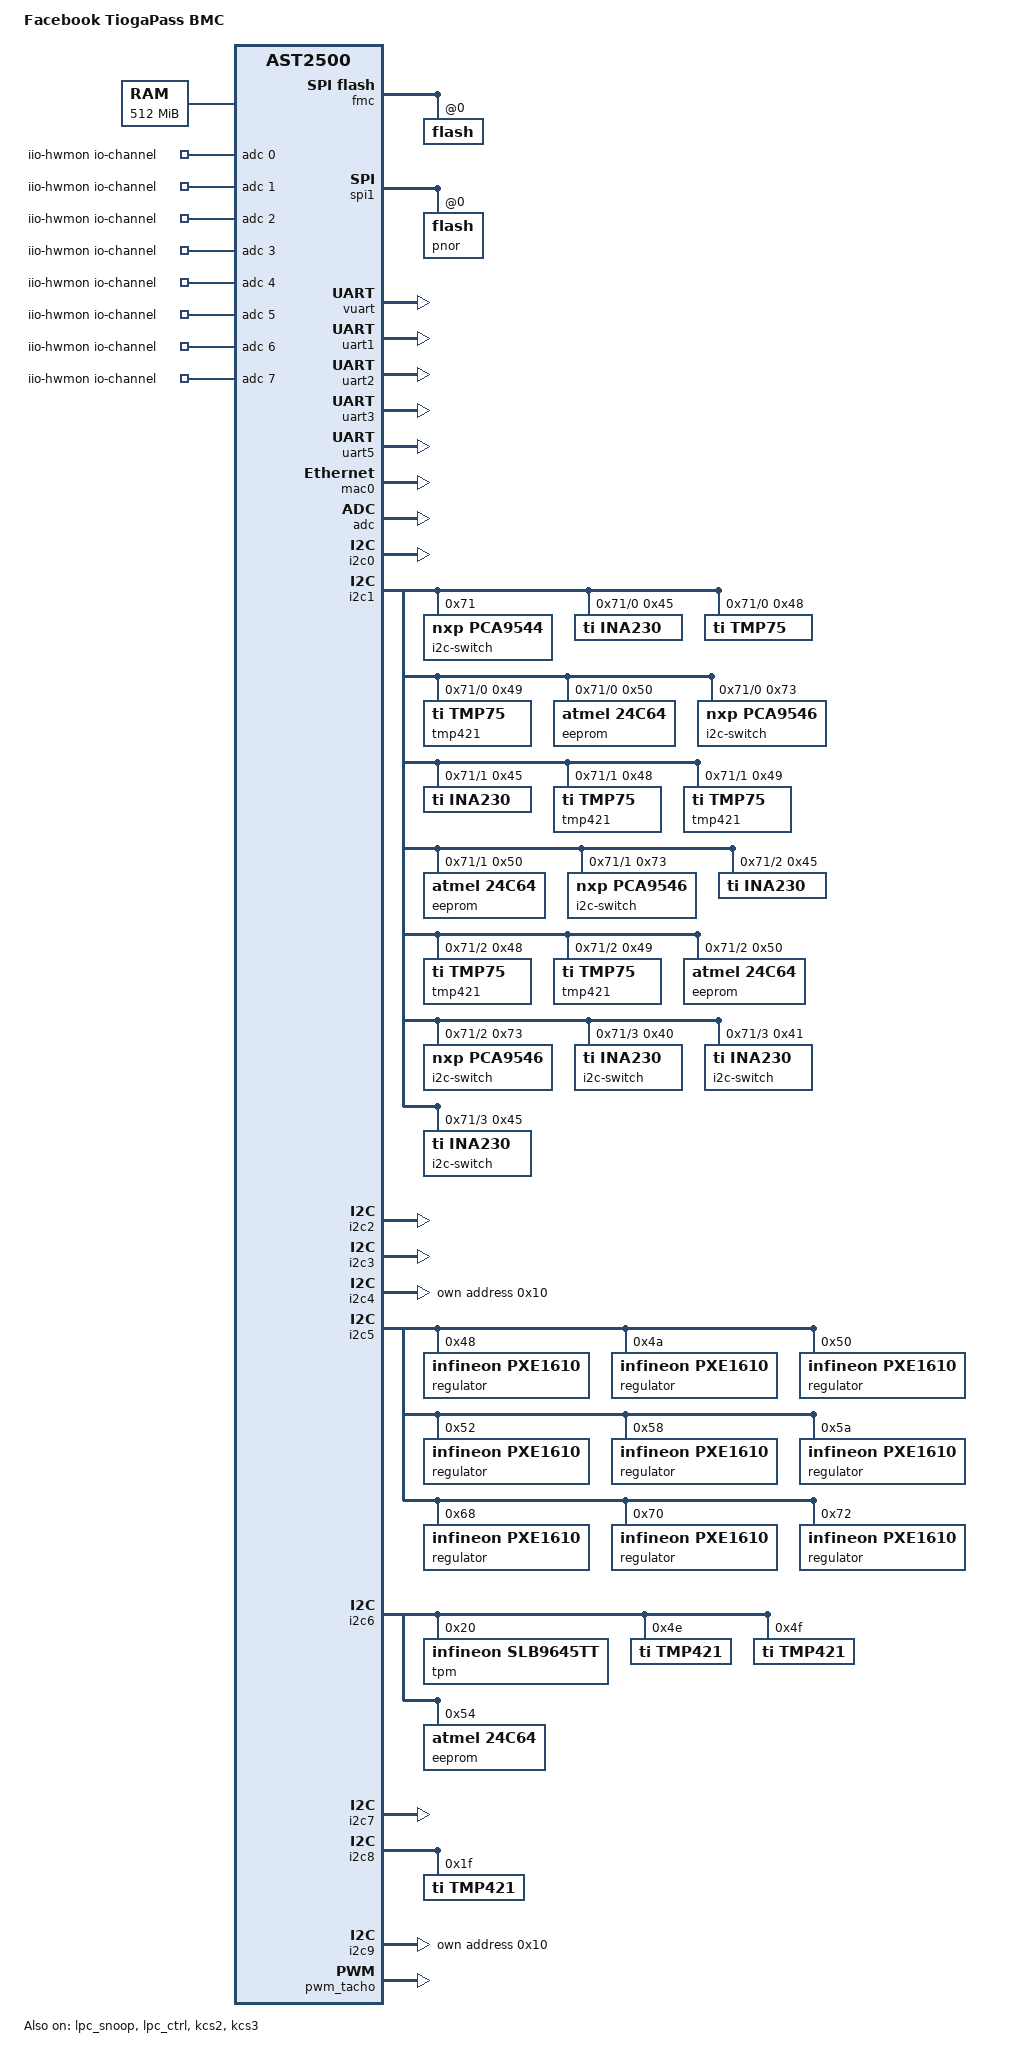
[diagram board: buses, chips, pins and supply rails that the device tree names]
// SPDX-License-Identifier: GPL-2.0+
// Copyright (c) 2018 Facebook Inc.
// Author: Vijay Khemka <vijaykhemka@fb.com>
/dts-v1/;

#include "aspeed-g5.dtsi"
#include <dt-bindings/gpio/aspeed-gpio.h>
#include <dt-bindings/i2c/i2c.h>

/ {
	model = "Facebook TiogaPass BMC";
	compatible = "facebook,tiogapass-bmc", "aspeed,ast2500";
	aliases {
		serial0 = &uart1;
		serial4 = &uart5;

		/*
		 * Hardcode the bus number of i2c switches' channels to
		 * avoid breaking the legacy applications.
		 */
		i2c16 = &imux16;
		i2c17 = &imux17;
		i2c18 = &imux18;
		i2c19 = &imux19;
		i2c20 = &imux20;
		i2c21 = &imux21;
		i2c22 = &imux22;
		i2c23 = &imux23;
		i2c24 = &imux24;
		i2c25 = &imux25;
		i2c26 = &imux26;
		i2c27 = &imux27;
		i2c28 = &imux28;
		i2c29 = &imux29;
		i2c30 = &imux30;
		i2c31 = &imux31;
	};
	chosen {
		stdout-path = &uart5;
		bootargs = "console=ttyS4,115200 earlyprintk";
	};

	memory@80000000 {
		reg = <0x80000000 0x20000000>;
	};

	iio-hwmon {
		compatible = "iio-hwmon";
		io-channels = <&adc 0>, <&adc 1>, <&adc 2>, <&adc 3>,
			      <&adc 4>, <&adc 5>, <&adc 6>, <&adc 7>;
	};

};

&fmc {
	status = "okay";
	flash@0 {
		status = "okay";
		m25p,fast-read;
#include "openbmc-flash-layout.dtsi"
	};
};

&spi1 {
	status = "okay";
	pinctrl-names = "default";
	pinctrl-0 = <&pinctrl_spi1_default>;
	flash@0 {
		status = "okay";
		m25p,fast-read;
		label = "pnor";
	};
};

&lpc_snoop {
	status = "okay";
	snoop-ports = <0x80>;
};

&lpc_ctrl {
	// Enable lpc clock
	status = "okay";
};

&vuart {
	// VUART Host Console
	status = "okay";
};

&uart1 {
	// Host Console
	status = "okay";
	pinctrl-names = "default";
	pinctrl-0 = <&pinctrl_txd1_default
		     &pinctrl_rxd1_default>;
};

&uart2 {
	// SoL Host Console
	status = "okay";
};

&uart3 {
	// SoL BMC Console
	status = "okay";
};

&uart5 {
	// BMC Console
	status = "okay";
};

&kcs2 {
	// BMC KCS channel 2
	status = "okay";
	aspeed,lpc-io-reg = <0xca8>;
};

&kcs3 {
	// BMC KCS channel 3
	status = "okay";
	aspeed,lpc-io-reg = <0xca2>;
};

&gpio {
	status = "okay";
	gpio-line-names =
	/*A0-A7*/	"BMC_CPLD_FPGA_SEL","","","","","","","",
	/*B0-B7*/	"","BMC_DEBUG_EN","","","","BMC_PPIN","PS_PWROK",
			"IRQ_PVDDQ_GHJ_VRHOT_LVT3",
	/*C0-C7*/	"","","","","","","","",
	/*D0-D7*/	"BIOS_MRC_DEBUG_MSG_DIS","BOARD_REV_ID0","",
			"BOARD_REV_ID1","IRQ_DIMM_SAVE_LVT3","BOARD_REV_ID2",
			"CPU_ERR0_LVT3_BMC","CPU_ERR1_LVT3_BMC",
	/*E0-E7*/	"RESET_BUTTON","RESET_OUT","POWER_BUTTON",
			"POWER_OUT","NMI_BUTTON","","CPU0_PROCHOT_LVT3_ BMC",
			"CPU1_PROCHOT_LVT3_ BMC",
	/*F0-F7*/	"IRQ_PVDDQ_ABC_VRHOT_LVT3","",
			"IRQ_PVCCIN_CPU0_VRHOT_LVC3",
			"IRQ_PVCCIN_CPU1_VRHOT_LVC3",
			"IRQ_PVDDQ_KLM_VRHOT_LVT3","","P3VBAT_BRIDGE_EN","",
	/*G0-G7*/	"CPU_ERR2_LVT3","CPU_CATERR_LVT3","PCH_BMC_THERMTRIP",
			"CPU0_SKTOCC_LVT3","","","","BIOS_SMI_ACTIVE",
	/*H0-H7*/	"LED_POST_CODE_0","LED_POST_CODE_1","LED_POST_CODE_2",
			"LED_POST_CODE_3","LED_POST_CODE_4","LED_POST_CODE_5",
			"LED_POST_CODE_6","LED_POST_CODE_7",
	/*I0-I7*/	"CPU0_FIVR_FAULT_LVT3","CPU1_FIVR_FAULT_LVT3",
			"FORCE_ADR","UV_ADR_TRIGGER_EN","","","","",
	/*J0-J7*/	"","","","","","","","",
	/*K0-K7*/	"","","","","","","","",
	/*L0-L7*/	"IRQ_UV_DETECT","IRQ_OC_DETECT","HSC_TIMER_EXP","",
			"MEM_THERM_EVENT_PCH","PMBUS_ALERT_BUF_EN","","",
	/*M0-M7*/	"CPU0_RC_ERROR","CPU1_RC_ERROR","","OC_DETECT_EN",
			"CPU0_THERMTRIP_LATCH_LVT3",
			"CPU1_THERMTRIP_LATCH_LVT3","","",
	/*N0-N7*/	"","","","CPU_MSMI_LVT3","","BIOS_SPI_BMC_CTRL","","",
	/*O0-O7*/	"","","","","","","","",
	/*P0-P7*/	"BOARD_SKU_ID0","BOARD_SKU_ID1","BOARD_SKU_ID2",
			"BOARD_SKU_ID3","BOARD_SKU_ID4","BMC_PREQ",
			"BMC_PWR_DEBUG","RST_RSMRST",
	/*Q0-Q7*/	"","","","","UARTSW_LSB","UARTSW_MSB",
			"POST_CARD_PRES_BMC","PE_BMC_WAKE",
	/*R0-R7*/	"","","BMC_TCK_MUX_SEL","BMC_PRDY",
			"BMC_XDP_PRSNT_IN","RST_BMC_PLTRST_BUF","SLT_CFG0",
			"SLT_CFG1",
	/*S0-S7*/	"THROTTLE","BMC_READY","","HSC_SMBUS_SWITCH_EN","",
			"","","",
	/*T0-T7*/	"","","","","","","","",
	/*U0-U7*/	"","","","","","BMC_FAULT","","",
	/*V0-V7*/	"","","","FAST_PROCHOT_EN","","","","",
	/*W0-W7*/	"","","","","","","","",
	/*X0-X7*/	"","","","GLOBAL_RST_WARN",
			"CPU0_MEMABC_MEMHOT_LVT3_BMC",
			"CPU0_MEMDEF_MEMHOT_LVT3_BMC",
			"CPU1_MEMGHJ_MEMHOT_LVT3_BMC",
			"CPU1_MEMKLM_MEMHOT_LVT3_BMC",
	/*Y0-Y7*/	"SIO_S3","SIO_S5","BMC_JTAG_SEL","SIO_ONCONTROL","",
			"","","",
	/*Z0-Z7*/	"","SIO_POWER_GOOD","IRQ_PVDDQ_DEF_VRHOT_LVT3","",
			"","","","",
	/*AA0-AA7*/	"CPU1_SKTOCC_LVT3","IRQ_SML1_PMBUS_ALERT",
			"SERVER_POWER_LED","","PECI_MUX_SELECT","UV_HIGH_SET",
			"","POST_COMPLETE",
	/*AB0-AB7*/	"IRQ_HSC_FAULT","OCP_MEZZA_PRES","","","","","","",
	/*AC0-AC7*/	"","","","","","","","";
};

&mac0 {
	status = "okay";

	pinctrl-names = "default";
	pinctrl-0 = <&pinctrl_rmii1_default>;
	clocks = <&syscon ASPEED_CLK_GATE_MAC1CLK>,
		 <&syscon ASPEED_CLK_MAC1RCLK>;
	clock-names = "MACCLK", "RCLK";
	use-ncsi;
};

&adc {
	status = "okay";
};

&i2c0 {
	status = "okay";
	//Airmax Conn B, CPU0 PIROM, CPU1 PIROM
};

&i2c1 {
	status = "okay";
	//X24 Riser
	i2c-switch@71 {
		compatible = "nxp,pca9544";
		#address-cells = <1>;
		#size-cells = <0>;
		reg = <0x71>;

		imux16: i2c@0 {
			#address-cells = <1>;
			#size-cells = <0>;
			reg = <0>;

			ina230@45 {
				compatible = "ti,ina230";
				reg = <0x45>;
			};

			tmp75@48 {
				compatible = "ti,tmp75";
				reg = <0x48>;
			};

			tmp421@49 {
				compatible = "ti,tmp75";
				reg = <0x49>;
			};

			eeprom@50 {
				compatible = "atmel,24c64";
				reg = <0x50>;
				pagesize = <32>;
			};

			i2c-switch@73 {
				compatible = "nxp,pca9546";
				#address-cells = <1>;
				#size-cells = <0>;
				reg = <0x73>;

				imux20: i2c@0 {
					#address-cells = <1>;
					#size-cells = <0>;
					reg = <0>;
				};

				imux21: i2c@1 {
					#address-cells = <1>;
					#size-cells = <0>;
					reg = <1>;
				};

				imux22: i2c@2 {
					#address-cells = <1>;
					#size-cells = <0>;
					reg = <2>;
				};

				imux23: i2c@3 {
					#address-cells = <1>;
					#size-cells = <0>;
					reg = <3>;
				};

			};

		};

		imux17: i2c@1 {
			#address-cells = <1>;
			#size-cells = <0>;
			reg = <1>;

			ina230@45 {
				compatible = "ti,ina230";
				reg = <0x45>;
			};

			tmp421@48 {
				compatible = "ti,tmp75";
				reg = <0x48>;
			};

			tmp421@49 {
				compatible = "ti,tmp75";
				reg = <0x49>;
			};

			eeprom@50 {
				compatible = "atmel,24c64";
				reg = <0x50>;
				pagesize = <32>;
			};

			i2c-switch@73 {
				compatible = "nxp,pca9546";
				#address-cells = <1>;
				#size-cells = <0>;
				reg = <0x73>;

				imux24: i2c@0 {
					#address-cells = <1>;
					#size-cells = <0>;
					reg = <0>;
				};

				imux25: i2c@1 {
					#address-cells = <1>;
					#size-cells = <0>;
					reg = <1>;
				};

				imux26: i2c@2 {
					#address-cells = <1>;
					#size-cells = <0>;
					reg = <2>;
				};

				imux27: i2c@3 {
					#address-cells = <1>;
					#size-cells = <0>;
					reg = <3>;
				};

			};

		};

		imux18: i2c@2 {
			#address-cells = <1>;
			#size-cells = <0>;
			reg = <2>;

			ina230@45 {
				compatible = "ti,ina230";
				reg = <0x45>;
			};

			tmp421@48 {
				compatible = "ti,tmp75";
				reg = <0x48>;
			};

			tmp421@49 {
				compatible = "ti,tmp75";
				reg = <0x49>;
			};

			eeprom@50 {
				compatible = "atmel,24c64";
				reg = <0x50>;
				pagesize = <32>;
			};

			i2c-switch@73 {
				compatible = "nxp,pca9546";
				#address-cells = <1>;
				#size-cells = <0>;
				reg = <0x73>;

				imux28: i2c@0 {
					#address-cells = <1>;
					#size-cells = <0>;
					reg = <0>;
				};

				imux29: i2c@1 {
					#address-cells = <1>;
					#size-cells = <0>;
					reg = <1>;
				};

				imux30: i2c@2 {
					#address-cells = <1>;
					#size-cells = <0>;
					reg = <2>;
				};

				imux31: i2c@3 {
					#address-cells = <1>;
					#size-cells = <0>;
					reg = <3>;
				};

			};

		};

		imux19: i2c@3 {
			#address-cells = <1>;
			#size-cells = <0>;
			reg = <3>;

			i2c-switch@40 {
				compatible = "ti,ina230";
				reg = <0x40>;
			};

			i2c-switch@41 {
				compatible = "ti,ina230";
				reg = <0x41>;
			};

			i2c-switch@45 {
				compatible = "ti,ina230";
				reg = <0x45>;
			};

		};

	};
};

&i2c2 {
	status = "okay";
	// Mezz Management SMBus
};

&i2c3 {
	status = "okay";
	// SMBus to Board ID EEPROM
};

&i2c4 {
	status = "okay";
	// BMC Debug Header
	ipmb0@10 {
		compatible = "ipmb-dev";
		reg = <(0x10 | I2C_OWN_SLAVE_ADDRESS)>;
		i2c-protocol;
	};
};

&i2c5 {
	status = "okay";
	// CPU Voltage regulators
	regulator@48 {
		compatible = "infineon,pxe1610";
		reg = <0x48>;
	};
	regulator@4a {
		compatible = "infineon,pxe1610";
		reg = <0x4a>;
	};
	regulator@50 {
		compatible = "infineon,pxe1610";
		reg = <0x50>;
	};
	regulator@52 {
		compatible = "infineon,pxe1610";
		reg = <0x52>;
	};
	regulator@58 {
		compatible = "infineon,pxe1610";
		reg = <0x58>;
	};
	regulator@5a {
		compatible = "infineon,pxe1610";
		reg = <0x5a>;
	};
	regulator@68 {
		compatible = "infineon,pxe1610";
		reg = <0x68>;
	};
	regulator@70 {
		compatible = "infineon,pxe1610";
		reg = <0x70>;
	};
	regulator@72 {
		compatible = "infineon,pxe1610";
		reg = <0x72>;
	};
};

&i2c6 {
	status = "okay";
	tpm@20 {
		compatible = "infineon,slb9645tt";
		reg = <0x20>;
	};
	tmp421@4e {
		compatible = "ti,tmp421";
		reg = <0x4e>;
	};
	tmp421@4f {
		compatible = "ti,tmp421";
		reg = <0x4f>;
	};
	eeprom@54 {
		compatible = "atmel,24c64";
		reg = <0x54>;
		pagesize = <32>;
	};
};

&i2c7 {
	status = "okay";
	//HSC, AirMax Conn A
};

&i2c8 {
	status = "okay";
	tmp421@1f {
		compatible = "ti,tmp421";
		reg = <0x1f>;
	};
	//Mezz Sensor SMBus
};

&i2c9 {
	status = "okay";
	//USB Debug Connector
	ipmb0@10 {
		compatible = "ipmb-dev";
		reg = <(0x10 | I2C_OWN_SLAVE_ADDRESS)>;
		i2c-protocol;
	};
};

&pwm_tacho {
	status = "okay";
	pinctrl-names = "default";
	pinctrl-0 = <&pinctrl_pwm0_default &pinctrl_pwm1_default>;
	fan@0 {
		reg = <0x00>;
		aspeed,fan-tach-ch = /bits/ 8 <0x00>;
	};

	fan@1 {
		reg = <0x01>;
		aspeed,fan-tach-ch = /bits/ 8 <0x02>;
	};
};
